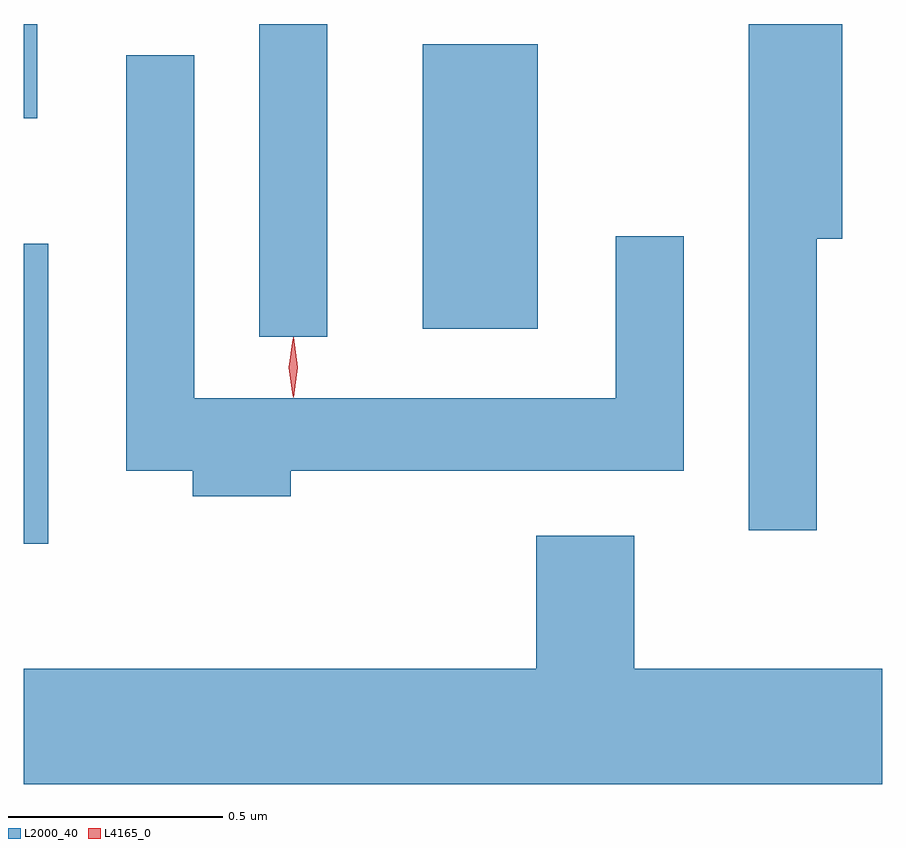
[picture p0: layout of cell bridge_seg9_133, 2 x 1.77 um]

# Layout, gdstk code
import gdstk
lib = gdstk.Library(unit=1e-6, precision=1e-09)
def R(c, l, rs):  # rectangles x0, y0, x1, y1
    for r in rs: c.add(gdstk.rectangle(r[:2], r[2:], *l))
def P(c, l, *ps):  # polygons
    for p in ps: c.add(gdstk.Polygon(p, *l))
L2000_40 = (2000, 40)
L4165_0 = (4165, 0)

bridge_seg9_133 = lib.new_cell('bridge_seg9_133')
R(bridge_seg9_133, L2000_40, [(1370.207,2072.296,1370.264,2072.994), (1370.756,2072.778,1370.914,2073.506), (1371.136,2072.796,1371.404,2073.459), (1370.207,2073.286,1370.239,2073.506)])
P(bridge_seg9_133, L2000_40, [(1372.054,2073.006),(1372.114,2073.006),(1372.114,2073.506),(1371.896,2073.506),(1371.896,2072.327),(1372.054,2072.327)],
  [(1370.829,2072.466),(1371.744,2072.466),(1371.744,2073.012),(1371.586,2073.012),(1371.586,2072.634),(1370.604,2072.634),(1370.604,2073.433),(1370.446,2073.433),(1370.446,2072.466),(1370.601,2072.466),(1370.601,2072.406),(1370.829,2072.406)],
  [(1372.207,2072.004),(1371.629,2072.004),(1371.629,2072.314),(1371.401,2072.314),(1371.401,2072.004),(1370.207,2072.004),(1370.207,2071.736),(1372.207,2071.736)])
P(bridge_seg9_133, L4165_0, [(1370.835,2072.637),(1370.835,2072.637),(1370.825,2072.707),(1370.835,2072.776),(1370.835,2072.776),(1370.836,2072.776),(1370.845,2072.707),(1370.836,2072.637)],
  [(1370.835,2072.639),(1370.834,2072.64),(1370.825,2072.706),(1370.834,2072.772),(1370.835,2072.773),(1370.836,2072.772),(1370.845,2072.706),(1370.836,2072.64)])

lib.write_gds('bridge_seg9_133.gds')
